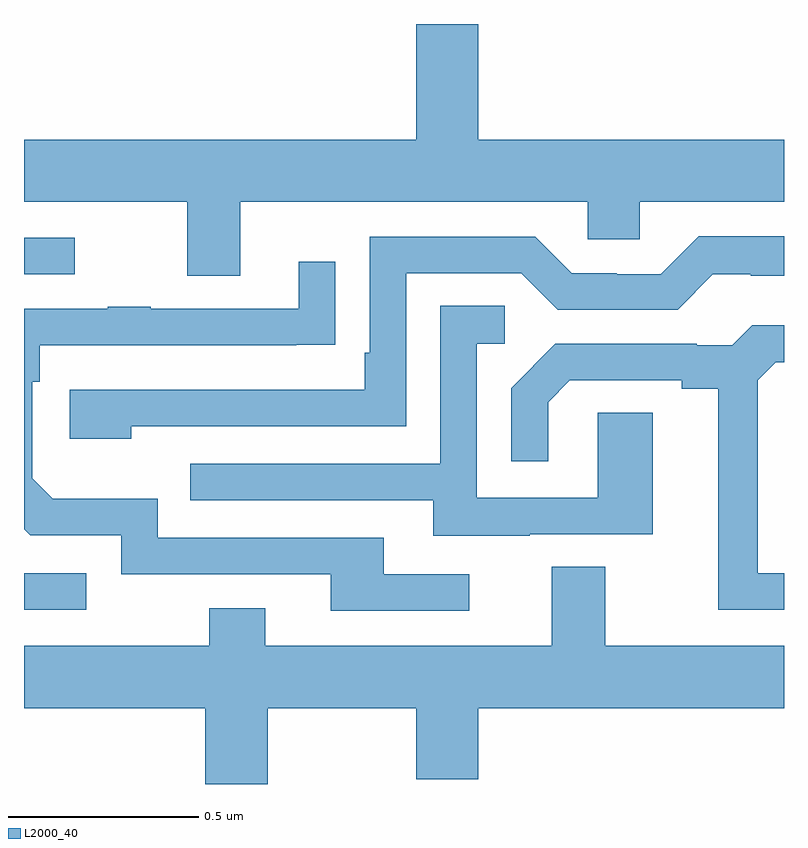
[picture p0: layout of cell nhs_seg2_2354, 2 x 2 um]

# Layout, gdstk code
import gdstk
lib = gdstk.Library(unit=1e-6, precision=1e-09)
def R(c, l, rs):  # rectangles x0, y0, x1, y1
    for r in rs: c.add(gdstk.rectangle(r[:2], r[2:], *l))
def P(c, l, *ps):  # polygons
    for p in ps: c.add(gdstk.Polygon(p, *l))
L2000_40 = (2000, 40)

nhs_seg2_2354 = lib.new_cell('nhs_seg2_2354')
R(nhs_seg2_2354, L2000_40, [(140,617.259,140.164,617.355), (140,618.141,140.134,618.237)])
P(nhs_seg2_2354, L2000_40, [(140.569,618.332),(141.483,618.332),(141.483,618.234),(141.621,618.234),(141.621,618.332),(142,618.332),(142,618.496),(141.196,618.496),(141.196,618.8),(141.032,618.8),(141.032,618.496),(140,618.496),(140,618.332),(140.429,618.332),(140.429,618.138),(140.569,618.138)],
  [(140.282,617.742),(141.006,617.742),(141.006,618.144),(141.309,618.144),(141.405,618.048),(141.72,618.048),(141.813,618.141),(141.913,618.141),(141.913,618.137),(142,618.137),(142,618.241),(141.775,618.241),(141.675,618.141),(141.56,618.141),(141.56,618.144),(141.441,618.144),(141.345,618.24),(140.91,618.24),(140.91,617.935),(140.897,617.935),(140.897,617.838),(140.121,617.838),(140.121,617.708),(140.282,617.708)],
  [(141.172,617.352),(140.947,617.352),(140.947,617.448),(140.352,617.448),(140.352,617.551),(140.075,617.551),(140.022,617.604),(140.022,617.858),(140.042,617.858),(140.042,617.955),(140.717,617.955),(140.717,617.956),(140.819,617.956),(140.819,618.175),(140.723,618.175),(140.723,618.051),(140.333,618.051),(140.333,618.056),(140.221,618.056),(140.221,618.051),(140,618.051),(140,617.47),(140.016,617.454),(140.256,617.454),(140.256,617.352),(140.807,617.352),(140.807,617.256),(141.172,617.256)],
  [(141.331,617.457),(141.655,617.457),(141.655,617.777),(141.51,617.777),(141.51,617.553),(141.192,617.553),(141.192,617.958),(141.265,617.958),(141.265,618.059),(141.096,618.059),(141.096,617.643),(140.437,617.643),(140.437,617.547),(141.077,617.547),(141.077,617.453),(141.331,617.453)],
  [(142,617.355),(141.931,617.355),(141.931,617.863),(141.978,617.91),(142,617.91),(142,618.007),(141.916,618.007),(141.864,617.955),(141.77,617.955),(141.77,617.958),(141.398,617.958),(141.282,617.842),(141.282,617.649),(141.379,617.649),(141.379,617.805),(141.436,617.862),(141.731,617.862),(141.731,617.84),(141.827,617.84),(141.827,617.259),(142,617.259)],
  [(140.641,617),(141.032,617),(141.032,616.812),(141.196,616.812),(141.196,617),(142,617),(142,617.164),(141.529,617.164),(141.529,617.372),(141.389,617.372),(141.389,617.164),(140.635,617.164),(140.635,617.263),(140.488,617.263),(140.488,617.164),(140,617.164),(140,617),(140.477,617),(140.477,616.8),(140.641,616.8)])

lib.write_gds('nhs_seg2_2354.gds')
